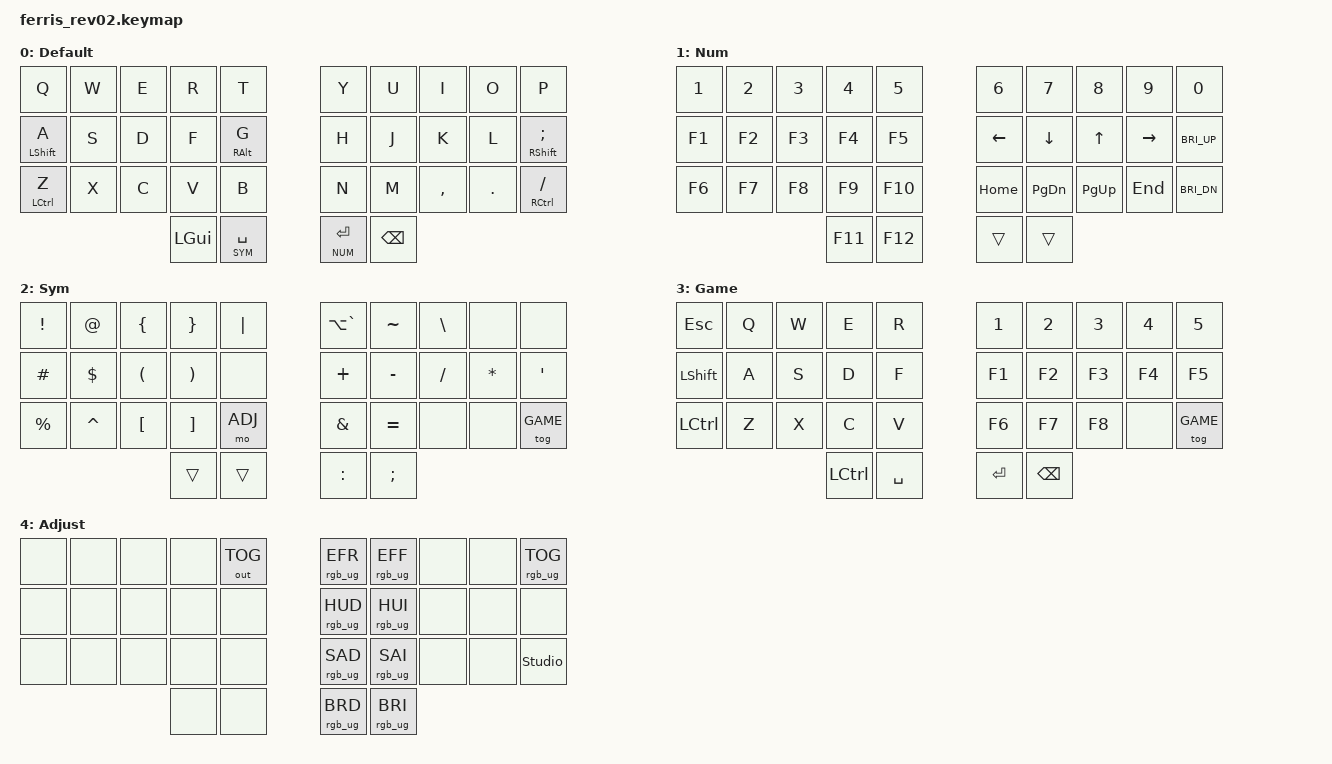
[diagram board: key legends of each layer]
#include <behaviors.dtsi>
#include <dt-bindings/zmk/keys.h>
#include <dt-bindings/zmk/rgb.h>
#include <dt-bindings/zmk/outputs.h>

#define NUM 1
#define SYM 2
#define GAME 3
#define ADJ 4

// Using layer taps on thumbs, having quick tap as well helps w/ repeating space/backspace
&lt {
  quick-tap-ms = <200>;
};

@i2c0 {
	is31fl3743a@20 {
		compatible = "issi,is31fl3743a";
		label = "IS31FL3743A_0";
		reg = <0x20>;
		riset = <68>;
		sw-setting = <0x01>;
		led-max-current = <5>;
		cs-order = [01 02 00 04 05 03 07 06 08 0A 0B 09 0D 0E 0C 10 11 0F];
		sdb-gpios = <&gpio1 13 (GPIO_ACTIVE_HIGH | GPIO_PULL_DOWN)>;
		sync = <0x11>;
	};
};

/ {
  behaviors {
    // https://zmk.dev/docs/behaviors/hold-tap#option-2-tap-preferred
    hm: homerow_mods {
      compatible = "zmk,behavior-hold-tap";
      #binding-cells = <2>;
      tapping-term-ms = <150>;
      quick-tap-ms = <0>;
      // require-prior-idle-ms = <150>;
      flavor = "tap-preferred";
      bindings = <&kp>, <&kp>;
    };
  };

  combos {
    compatible = "zmk,combos";

    //  0  1  2  3  4     5  6  7  8  9
    // 10 11 12 13 14    15 16 17 18 19
    // 20 21 22 23 24    25 26 27 28 29
    //          30 31    32 33

    esc {
      timeout-ms = <50>;
      key-positions = <1  2>;
      bindings = <&kp ESC>;
    };

    backspace {
      timeout-ms = <50>;
      key-positions = <11 12>;
      bindings = <&kp BACKSPACE>;
    };

    tab {
      timeout-ms = <50>;
      key-positions = <12 13>;
      bindings = <&kp TAB>;
    };

    less_than {
      timeout-ms = <50>;
      key-positions = <16 17>;
      bindings = <&kp LESS_THAN>;
    };

    greater_than {
      timeout-ms = <50>;
      key-positions = <17 18>;
      bindings = <&kp GREATER_THAN>;
    };

    enter {
      timeout-ms = <50>;
      key-positions = <22 23>;
      bindings = <&kp ENTER>;
    };

    single_quote {
      timeout-ms = <50>;
      key-positions = <25 26>;
      bindings = <&kp SINGLE_QUOTE>;
    };

    underscore {
      timeout-ms = <50>;
      key-positions = <26 27>;
      bindings = <&kp UNDERSCORE>;
    };
  };

  keymap {
    compatible = "zmk,keymap";

    default_layer {
      display-name = "Default";
      bindings = <
        &kp Q        &kp W      &kp E     &kp R      &kp T            &kp Y          &kp U       &kp I         &kp O         &kp P
        &hm LSHFT A  &kp S      &kp D     &kp F      &hm RALT G       &kp H          &kp J       &kp K         &kp L         &hm RSHFT SEMI
        &hm LCTRL Z  &kp X      &kp C     &kp V      &kp B            &kp N          &kp M       &kp COMMA     &kp DOT       &hm RCTRL FSLH
                                          &kp LGUI   &lt SYM SPACE    &lt NUM ENTER  &kp BSPC
      >;
    };

    num_layer {
      display-name = "Num";
      bindings = <
        &kp N1       &kp N2     &kp N3    &kp N4     &kp N5           &kp N6         &kp N7        &kp N8        &kp N9        &kp N0
        &kp F1       &kp F2     &kp F3    &kp F4     &kp F5           &kp LEFT       &kp DOWN      &kp UP        &kp RIGHT     &kp C_BRI_UP
        &kp F6       &kp F7     &kp F8    &kp F9     &kp F10          &kp HOME       &kp PG_DN     &kp PG_UP     &kp END       &kp C_BRI_DN
                                          &kp F11    &kp F12          &trans         &trans
      >;
    };

    sym_layer {
      display-name = "Sym";
      bindings = <
        &kp EXCL     &kp AT     &kp LBRC  &kp RBRC   &kp PIPE         &kp LA(GRAVE)  &kp TILDE     &kp BSLH      &none         &none
        &kp HASH     &kp DLLR   &kp LPAR  &kp RPAR   &none            &kp PLUS       &kp MINUS     &kp FSLH      &kp STAR      &kp SQT
        &kp PRCNT    &kp CARET  &kp LBKT  &kp RBKT   &mo ADJ          &kp AMPS       &kp EQUAL     &none         &none         &tog GAME
                                          &trans     &trans           &kp COLON      &kp SEMI
      >;
    };

    game_layer {
      display-name = "Game";
      bindings = <
        &kp ESC      &kp Q      &kp W     &kp E      &kp R            &kp N1         &kp N2        &kp N3        &kp N4        &kp N5
        &kp LSHFT    &kp A      &kp S     &kp D      &kp F            &kp F1         &kp F2        &kp F3        &kp F4        &kp F5
        &kp LCTRL    &kp Z      &kp X     &kp C      &kp V            &kp F6         &kp F7        &kp F8        &none         &tog GAME
                                          &kp LCTRL  &kp SPACE        &kp ENTER      &kp BSPC
      >;
    };

    adj_layer {
      display-name = "Adjust";
      bindings = <
        &none        &none      &none     &none      &out OUT_TOG     &rgb_ug RGB_EFR   &rgb_ug RGB_EFF  &none  &none  &rgb_ug RGB_TOG
        &none        &none      &none     &none      &none            &rgb_ug RGB_HUD   &rgb_ug RGB_HUI  &none  &none  &none
        &none        &none      &none     &none      &none            &rgb_ug RGB_SAD   &rgb_ug RGB_SAI  &none  &none  &studio_unlock
                                          &none      &none            &rgb_ug RGB_BRD   &rgb_ug RGB_BRI
      >;
    };

    extra1 {
      status = "reserved";
    };

    extra2 {
      status = "reserved";
    };
  };
};
